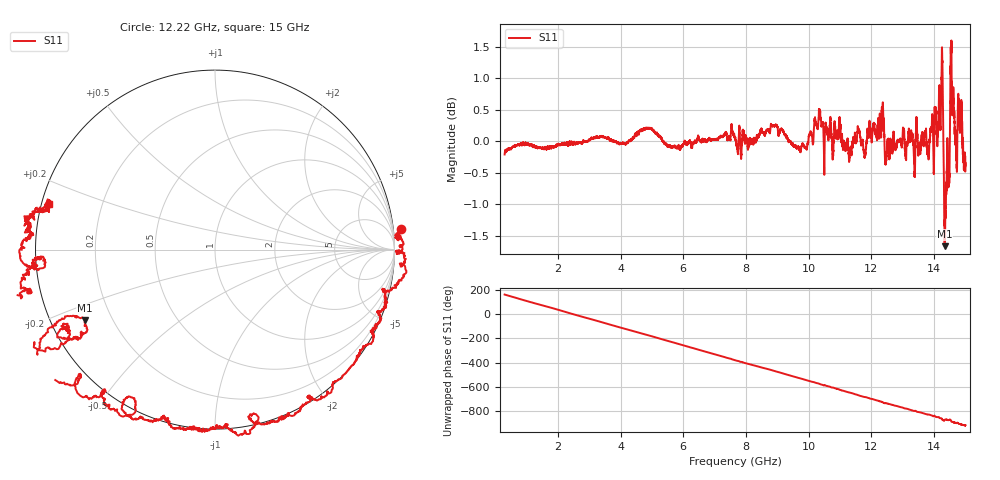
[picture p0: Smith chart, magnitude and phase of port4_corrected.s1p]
! Created with skrf 1.9.0 (http://scikit-rf.org).
# GHz S RI R 50.0
!freq ReS11 ImS11
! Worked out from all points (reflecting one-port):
!   12801 points, 300 MHz to 15 GHz, reference 50 ohm
!   lowest |S11| = -1.7 dB at 14.34 GHz (marker M1), VSWR 10.49, Z = 5.07 - j12.5 ohm
!   phase of S11 starts at 159 deg and turns -1074 deg over the sweep
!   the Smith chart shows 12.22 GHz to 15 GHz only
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0.3  -0.9119 0.3485
0.8018672  -0.5153 0.8509
1.19693  -0.0362 0.9909
1.663195  0.5083 0.8485
2.1375  0.9105 0.4054
2.942555  0.8165 -0.577
3.47543  0.2787 -0.9683
3.975  -0.3532 -0.9306
4.917867  -1.022 -0.0373
5.8125  -0.4306 0.891
6.581953  0.517 0.8559
7.164211  0.9669 0.2845
7.65  0.9426 -0.3494
8.154164  0.5495 -0.8351
8.62732  0.0233 -1.017
9.026977  -0.4805 -0.8924
9.4875  -0.8817 -0.4626
10.28107  -0.8877 0.5108
10.93683  -0.2153 0.9895
11.325  0.3014 0.9343
11.68331  0.7176 0.6906
12.30691  1.012 -0.0233
13.1625  0.4791 -0.8764
13.89176  -0.3731 -0.9514
14.18691  -0.7722 -0.7157
14.33735  -0.7265 -0.3928
14.59575  -1.048 -0.2281
15  -0.923 0.2516
